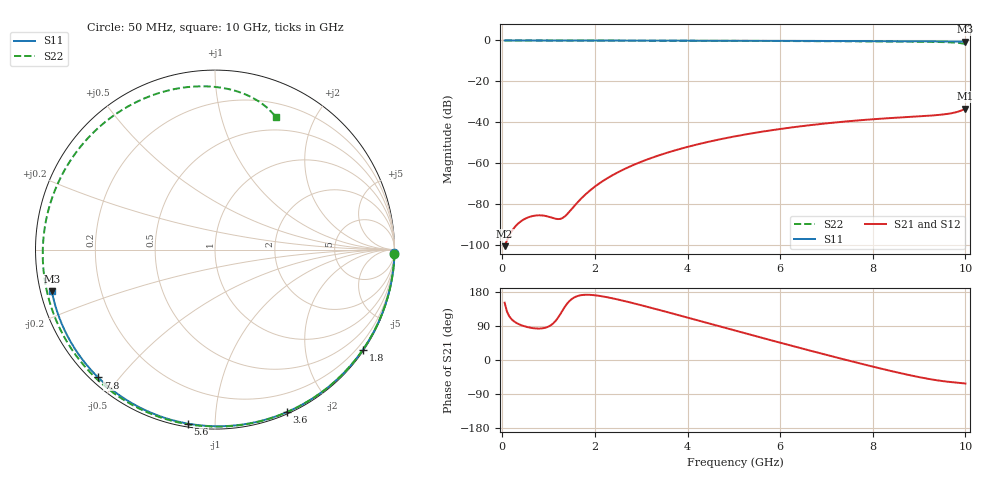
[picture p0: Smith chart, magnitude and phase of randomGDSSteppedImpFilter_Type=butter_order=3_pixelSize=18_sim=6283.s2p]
! freq	dB(S11)	phase(S11)	dB(S12)	phase(S12)
!  dB(S21)	phase(S21)	dB(S22)	phase(S22)
!S-par simulation data
#  GHz  S  DB  R 50
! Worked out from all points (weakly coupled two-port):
!   200 points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, 50 MHz to 10 GHz, reference 50 ohm
!   highest |S21| = -33.28 dB at 10 GHz (marker M1); lowest = -100.5 dB at 50 MHz (marker M2)
!   lowest |S11| = -0.6 dB at 10 GHz (marker M3), VSWR 31.40, Z = 1.62 - j6.22 ohm
!   |S11| at or under -10 dB: nowhere
!   |S22| runs from -1.8 to 0.0 dB; largest |S21 - S12| = 0
!   S11 on the Smith chart (normalised r, x): 50 MHz: open; 1.8 GHz: 0.03, -3.27; 3.6 GHz: 0.02, -1.54; 5.6 GHz: 0.02, -0.85; 7.8 GHz: 0.02, -0.44; 10 GHz: 0.03, -0.12
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0.05  -0.00 -1.0  -100.54 151.3  -100.54 151.3  -0.00 -1.4
0.75  -0.02 -14.4  -85.50 83.1  -85.50 83.1  -0.02 -20.7
1.55  -0.04 -29.4  -81.05 164.8  -81.05 164.8  -0.05 -42.3
1.6  -0.04 -30.3  -79.76 167.7  -79.76 167.7  -0.06 -43.7
1.75  -0.04 -33.1  -76.23 171.7  -76.23 171.7  -0.06 -47.7
1.8  -0.04 -34.0  -75.17 172.1  -75.17 172.1  -0.06 -49.0
2.1  -0.05 -39.5  -69.78 169.2  -69.78 169.2  -0.07 -56.9
2.45  -0.06 -45.9  -64.99 160.9  -64.99 160.9  -0.08 -66.0
2.9  -0.07 -53.9  -60.20 147.7  -60.20 147.7  -0.10 -77.5
3.4  -0.08 -62.7  -56.02 131.7  -56.02 131.7  -0.12 -90.0
3.6  -0.09 -66.1  -54.58 125.2  -54.58 125.2  -0.13 -95.0
4.3  -0.11 -77.9  -50.33 102.0  -50.33 102.0  -0.16 -112.2
5.05  -0.14 -90.2  -46.76 77.0  -46.76 77.0  -0.20 -130.5
5.6  -0.16 -98.9  -44.62 58.8  -44.62 58.8  -0.24 -144.0
6.7  -0.23 -115.9  -41.26 23.0  -41.26 23.0  -0.33 -172.2
7.25  -0.26 -124.2  -39.95 5.6  -39.95 5.6  -0.39 172.6
7.8  -0.31 -132.4  -38.86 -11.4  -38.86 -11.4  -0.45 156.5
8.35  -0.36 -140.7  -37.97 -27.8  -37.97 -27.8  -0.52 139.0
8.9  -0.42 -148.9  -37.22 -42.7  -37.22 -42.7  -0.61 119.6
9.4  -0.48 -156.5  -36.44 -53.8  -36.44 -53.8  -0.74 99.6
9.75  -0.52 -161.9  -35.34 -58.9  -35.34 -58.9  -1.00 82.5
10  -0.55 -165.8  -33.28 -62.0  -33.28 -62.0  -1.78 65.5
